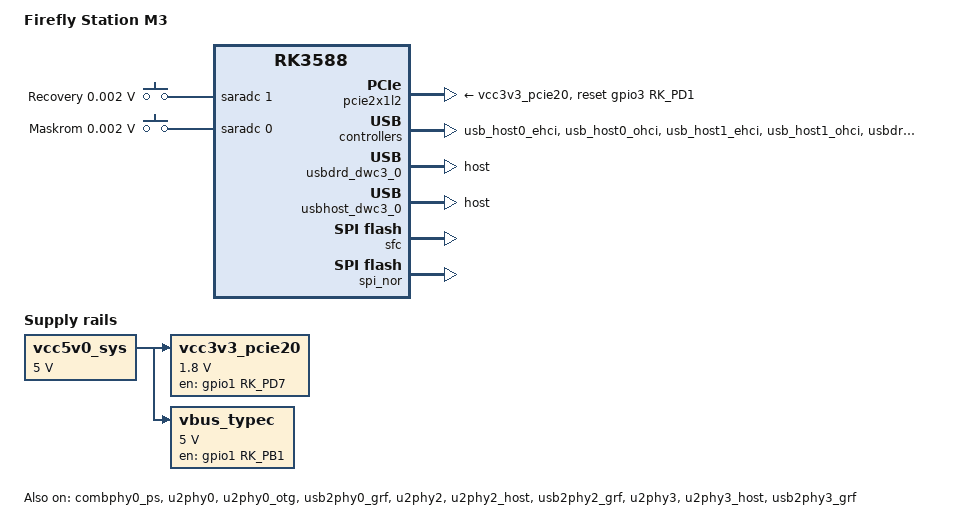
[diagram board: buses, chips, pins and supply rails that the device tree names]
// SPDX-License-Identifier: (GPL-2.0+ OR MIT)
/*
 * Copyright (c) 2021 Rockchip Electronics Co., Ltd
 *
 */

/dts-v1/;
#include "rk3588.dtsi"
#include "rk3588-u-boot.dtsi"
#include <dt-bindings/input/input.h>

/ {
	model = "Firefly Station M3";
	compatible = "firefly,rk3588s-roc-pc", "rockchip,rk3588";

	adc-keys {
		compatible = "adc-keys";
		io-channels = <&saradc 1>;
		io-channel-names = "buttons";
		keyup-threshold-microvolt = <1800000>;
		poll-interval = <100>;

		button-recovery {
			label = "Recovery";
			linux,code = <KEY_VENDOR>;
			press-threshold-microvolt = <1800>;
		};
	};

	adc-keys-1 {
		compatible = "adc-keys";
		io-channels = <&saradc 0>;
		io-channel-names = "buttons";
		keyup-threshold-microvolt = <1800000>;
		poll-interval = <100>;

		button-maskrom {
			label = "Maskrom";
			linux,code = <KEY_SETUP>;
			press-threshold-microvolt = <1800>;
		};
	};

	vcc5v0_sys: vcc5v0-sys {
		u-boot,dm-pre-reloc;
		compatible = "regulator-fixed";
		regulator-name = "vcc5v0_sys";
		regulator-always-on;
		regulator-boot-on;
		regulator-min-microvolt = <5000000>;
		regulator-max-microvolt = <5000000>;
	};

	vcc3v3_pcie20: vcc3v3-pcie20-regulator {
		u-boot,dm-pre-reloc;
		compatible = "regulator-fixed";
		enable-active-high;
		gpios = <&gpio1 RK_PD7 GPIO_ACTIVE_HIGH>;
		regulator-name = "vcc3v3_pcie20";
		regulator-boot-on;
		regulator-min-microvolt = <1800000>;
		regulator-max-microvolt = <1800000>;
		startup-delay-us = <50000>;
		vin-supply = <&vcc5v0_sys>;
	};

	vbus_typec: vbus-typec-regulator {
		u-boot,dm-pre-reloc;
		compatible = "regulator-fixed";
		enable-active-high;
		gpio = <&gpio1 RK_PB1 GPIO_ACTIVE_HIGH>;
		pinctrl-names = "default";
		pinctrl-0 = <&typec5v_pwren>;
		regulator-name = "vbus_typec";
		regulator-min-microvolt = <5000000>;
		regulator-max-microvolt = <5000000>;
		vin-supply = <&vcc5v0_sys>;
	};
};

&combphy0_ps {
	u-boot,dm-pre-reloc;
	status = "okay";
};

&pcie2x1l2 {
	u-boot,dm-pre-reloc;
	reset-gpios = <&gpio3 RK_PD1 GPIO_ACTIVE_HIGH>;
	vpcie3v3-supply = <&vcc3v3_pcie20>;
	status = "okay";
};

&u2phy0 {
	u-boot,dm-pre-reloc;
	status = "okay";
};

&u2phy0_otg {
	u-boot,dm-pre-reloc;
	status = "okay";
};

&usb2phy0_grf {
	u-boot,dm-pre-reloc;
	status = "okay";
};

&u2phy2 {
	u-boot,dm-pre-reloc;
	status = "okay";
};

&u2phy2_host {
	u-boot,dm-pre-reloc;
	status = "okay";
};

&usb2phy2_grf {
	u-boot,dm-pre-reloc;
	status = "okay";
};

&u2phy3 {
	u-boot,dm-pre-reloc;
	status = "okay";
};

&u2phy3_host {
	u-boot,dm-pre-reloc;
	status = "okay";
};

&usb2phy3_grf {
	u-boot,dm-pre-reloc;
	status = "okay";
};

&usb_host0_ehci {
	u-boot,dm-pre-reloc;
	status = "okay";
};

&usb_host0_ohci {
	u-boot,dm-pre-reloc;
	status = "okay";
};

&usb_host1_ehci {
	u-boot,dm-pre-reloc;
	status = "okay";
};

&usb_host1_ohci {
	u-boot,dm-pre-reloc;
	status = "okay";
};

&usbdrd3_0 {
	u-boot,dm-pre-reloc;
	status = "okay";
};

&usbdrd_dwc3_0 {
	u-boot,dm-pre-reloc;
	dr_mode = "host";
	status = "okay";
};

&usbhost3_0 {
	u-boot,dm-pre-reloc;
	status = "okay";
};

&usbhost_dwc3_0 {
	u-boot,dm-pre-reloc;
	dr_mode = "host";
	status = "okay";
};

&sfc {
	u-boot,dm-pre-reloc;
	pinctrl-names = "default";
	pinctrl-0 = <&fspim0_pins>;
	status = "okay";
};

&spi_nor {
	u-boot,dm-pre-reloc;
	status = "okay";
};

&pinctrl {
	usb {
		u-boot,dm-pre-reloc;
		typec5v_pwren: typec5v-pwren {
			u-boot,dm-pre-reloc;
			rockchip,pins = <1 RK_PB1 RK_FUNC_GPIO &pcfg_pull_none>;
		};
	};
};
